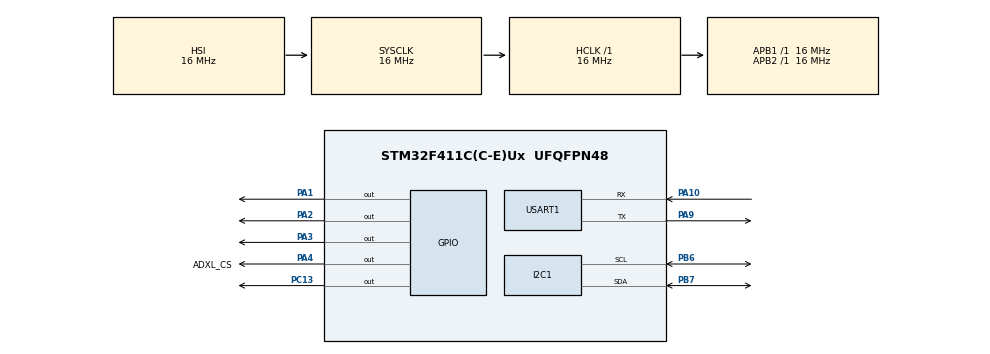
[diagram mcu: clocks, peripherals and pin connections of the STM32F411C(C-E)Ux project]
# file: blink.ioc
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Mcu.Family=STM32F4
Mcu.Name=STM32F411C(C-E)Ux
Mcu.Package=UFQFPN48
NVIC.PriorityGroup=NVIC_PRIORITYGROUP_4
PA1.Signal=GPIO_Output
PA10.Mode=Asynchronous
PA10.Signal=USART1_RX
PA13.Mode=Serial_Wire
PA13.Signal=SYS_JTMS-SWDIO
PA14.Mode=Serial_Wire
PA14.Signal=SYS_JTCK-SWCLK
PA2.Signal=GPIO_Output
PA3.Signal=GPIO_Output
PA4.GPIO_Label=ADXL_CS
PA4.Signal=GPIO_Output
PA9.Mode=Asynchronous
PA9.Signal=USART1_TX
PB6.Mode=I2C
PB6.Signal=I2C1_SCL
PB7.Mode=I2C
PB7.Signal=I2C1_SDA
PC13-ANTI_TAMP.Signal=GPIO_Output
ProjectManager.HeapSize=0x200
ProjectManager.StackSize=0x400
ProjectManager.TargetToolchain=STM32CubeIDE
RCC.AHBFreq_Value=16000000
RCC.APB1Freq_Value=16000000
RCC.APB2Freq_Value=16000000
RCC.CortexFreq_Value=16000000
RCC.HSE_VALUE=25000000
RCC.HSI_VALUE=16000000
RCC.LSE_VALUE=32768
RCC.SYSCLKFreq_VALUE=16000000
RCC.VCOOutputFreq_Value=192000000
USART1.VirtualMode=VM_ASYNC
board=custom

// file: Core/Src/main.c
/* USER CODE BEGIN Header */
/**
 ******************************************************************************
 * @file           : main.c
 * @brief          : Main program body
 ******************************************************************************
 * @attention
 *
 * <h2><center>&copy; Copyright (c) 2026 STMicroelectronics.
 * All rights reserved.</center></h2>
 *
 * This software component is licensed by ST under BSD 3-Clause license,
 * the "License"; You may not use this file except in compliance with the
 * License. You may obtain a copy of the License at:
 *                        opensource.org/licenses/BSD-3-Clause
 *
 ******************************************************************************
 */
/* USER CODE END Header */
#include "main.h"
#include <stdio.h>
#include <math.h>
#include "ai_model.h"
#include "arm_math.h"

/* USER CODE BEGIN Includes */
UART_HandleTypeDef huart1;
/* USER CODE END Includes */

/* USER CODE BEGIN PTD */
double z_buffer[35];
int sample_count = 0;

I2C_HandleTypeDef hi2c1;

UART_HandleTypeDef huart1;

/* USER CODE BEGIN PV */
int16_t Accel_X_RAW = 0;
int16_t Accel_Y_RAW = 0;
int16_t Accel_Z_RAW = 0;
int16_t Gyro_X_RAW = 0;
int16_t Gyro_Y_RAW = 0;
int16_t Gyro_Z_RAW = 0;
uint8_t check = 0x00;
uint8_t rec_data[14];

float Ax = 0, Ay = 0, Az = 0;
float Gx = 0, Gy = 0, Gz = 0;
/* USER CODE END PV */

void SystemClock_Config(void);
static void MX_GPIO_Init(void);
static void MX_I2C1_Init(void);
static void MX_USART1_UART_Init(void);

int main(void)
{
  HAL_Init();
  SystemClock_Config();
  MX_GPIO_Init();
  MX_I2C1_Init();
  MX_USART1_UART_Init();
  HAL_NVIC_DisableIRQ(I2C1_EV_IRQn);
  HAL_NVIC_DisableIRQ(I2C1_ER_IRQn);

  // Đánh thức MPU6050
  HAL_I2C_Mem_Write(&hi2c1, 0xD0, 0x6B, I2C_MEMADD_SIZE_8BIT, &check, 1, 100);

  // Chớp đèn PC13 báo hiệu hệ thống đã khởi động an toàn
  for (int i = 0; i < 6; i++)
  {
    HAL_GPIO_TogglePin(GPIOC, GPIO_PIN_13);
    HAL_Delay(200);
  }
  while (1)
  {
    if (HAL_I2C_Mem_Read(&hi2c1, 0xD0, 0x3B, I2C_MEMADD_SIZE_8BIT, rec_data, 14, 100) == HAL_OK)
    {
      Accel_Z_RAW = (int16_t)(rec_data[4] << 8 | rec_data[5]);
      Az = Accel_Z_RAW / 16384.0f;
      z_buffer[sample_count] = (double)Az;
      sample_count++;
      if (sample_count == 35)
      {
        // a. Trích xuất 5 Đặc trưng (Mean, Std, Max, Min, Range)
        double mean = 0, max = z_buffer[0], min = z_buffer[0];
        for (int i = 0; i < 35; i++)
        {
          mean += z_buffer[i];
          if (z_buffer[i] > max)
            max = z_buffer[i];
          if (z_buffer[i] < min)
            min = z_buffer[i];
        }
        mean /= 35.0;

        double variance = 0;
        for (int i = 0; i < 35; i++)
        {
          variance += (z_buffer[i] - mean) * (z_buffer[i] - mean);
        }
        double std_dev = sqrt(variance / 35.0);
        double range = max - min;

        // b. Đưa vào mảng đầu vào cho mô hình
        double ai_input[5] = {mean, std_dev, max, min, range};
        double ai_output[3];

        // c. Gọi hàm AI suy luận
        score(ai_input, ai_output);

        // d. Tìm nhãn có điểm số cao nhất
        int predicted_class = 0;
        double max_score = ai_output[0];
        for (int i = 1; i < 3; i++)
        {
          if (ai_output[i] > max_score)
          {
            max_score = ai_output[i];
            predicted_class = i;
          }
        }

        // e. KÍCH HOẠT ĐÈN LED CẢNH BÁO
        HAL_GPIO_WritePin(GPIOA, GPIO_PIN_1 | GPIO_PIN_2 | GPIO_PIN_3, GPIO_PIN_RESET);

        if (predicted_class == 0)
        {
          HAL_GPIO_WritePin(GPIOA, GPIO_PIN_1, GPIO_PIN_SET); // LED XANH LÁ
          printf("STATUS: NORMAL\n");
        }
        else if (predicted_class == 1)
        {
          HAL_GPIO_WritePin(GPIOA, GPIO_PIN_2, GPIO_PIN_SET); // LED VÀNG
          printf("WARNING: SLIGHT VIBRATION\n");
        }
        else if (predicted_class == 2)
        {
          HAL_GPIO_WritePin(GPIOA, GPIO_PIN_3, GPIO_PIN_SET); // LED ĐỎ
          printf("DANGER: SHAKE FIERCELY!\n");
        }

        // f. Trượt cửa sổ (Overlap 50%)
        for (int i = 0; i < 17; i++)
        {
          z_buffer[i] = z_buffer[i + 18];
        }
        sample_count = 17;
      }
    }
    else
    {
      HAL_GPIO_WritePin(GPIOC, GPIO_PIN_13, GPIO_PIN_SET); // error
    }

    HAL_Delay(20); // Lấy mẫu 50Hz
  }
}

void SystemClock_Config(void)
{
  RCC_OscInitTypeDef RCC_OscInitStruct = {0};
  RCC_ClkInitTypeDef RCC_ClkInitStruct = {0};

  __HAL_RCC_PWR_CLK_ENABLE();
  __HAL_PWR_VOLTAGESCALING_CONFIG(PWR_REGULATOR_VOLTAGE_SCALE1);
  /** Initializes the RCC Oscillators according to the specified parameters
   * in the RCC_OscInitTypeDef structure.
   */
  RCC_OscInitStruct.OscillatorType = RCC_OSCILLATORTYPE_HSI;
  RCC_OscInitStruct.HSIState = RCC_HSI_ON;
  RCC_OscInitStruct.HSICalibrationValue = RCC_HSICALIBRATION_DEFAULT;
  RCC_OscInitStruct.PLL.PLLState = RCC_PLL_NONE;
  if (HAL_RCC_OscConfig(&RCC_OscInitStruct) != HAL_OK)
  {
    Error_Handler();
  }
  /** Initializes the CPU, AHB and APB buses clocks
   */
  RCC_ClkInitStruct.ClockType = RCC_CLOCKTYPE_HCLK | RCC_CLOCKTYPE_SYSCLK | RCC_CLOCKTYPE_PCLK1 | RCC_CLOCKTYPE_PCLK2;
  RCC_ClkInitStruct.SYSCLKSource = RCC_SYSCLKSOURCE_HSI;
  RCC_ClkInitStruct.AHBCLKDivider = RCC_SYSCLK_DIV1;
  RCC_ClkInitStruct.APB1CLKDivider = RCC_HCLK_DIV1;
  RCC_ClkInitStruct.APB2CLKDivider = RCC_HCLK_DIV1;

  if (HAL_RCC_ClockConfig(&RCC_ClkInitStruct, FLASH_LATENCY_0) != HAL_OK)
  {
    Error_Handler();
  }
}

static void MX_I2C1_Init(void)
{

  /* USER CODE BEGIN I2C1_Init 0 */
  __HAL_RCC_GPIOB_CLK_ENABLE();
  __HAL_RCC_I2C1_CLK_ENABLE();

  GPIO_InitTypeDef GPIO_InitStruct = {0};
  GPIO_InitStruct.Pin = GPIO_PIN_6 | GPIO_PIN_7;
  GPIO_InitStruct.Mode = GPIO_MODE_AF_OD;
  GPIO_InitStruct.Pull = GPIO_PULLUP;
  GPIO_InitStruct.Speed = GPIO_SPEED_FREQ_VERY_HIGH;
  GPIO_InitStruct.Alternate = GPIO_AF4_I2C1;
  HAL_GPIO_Init(GPIOB, &GPIO_InitStruct);
  /* USER CODE END I2C1_Init 0 */

  hi2c1.Instance = I2C1;
  hi2c1.Init.ClockSpeed = 100000;
  hi2c1.Init.DutyCycle = I2C_DUTYCYCLE_2;
  hi2c1.Init.OwnAddress1 = 0;
  hi2c1.Init.AddressingMode = I2C_ADDRESSINGMODE_7BIT;
  hi2c1.Init.DualAddressMode = I2C_DUALADDRESS_DISABLE;
  hi2c1.Init.OwnAddress2 = 0;
  hi2c1.Init.GeneralCallMode = I2C_GENERALCALL_DISABLE;
  hi2c1.Init.NoStretchMode = I2C_NOSTRETCH_DISABLE;
  if (HAL_I2C_Init(&hi2c1) != HAL_OK)
  {
    Error_Handler();
  }
}

static void MX_USART1_UART_Init(void)
{
  huart1.Instance = USART1;
  huart1.Init.BaudRate = 115200;
  huart1.Init.WordLength = UART_WORDLENGTH_8B;
  huart1.Init.StopBits = UART_STOPBITS_1;
  huart1.Init.Parity = UART_PARITY_NONE;
  huart1.Init.Mode = UART_MODE_TX_RX;
  huart1.Init.HwFlowCtl = UART_HWCONTROL_NONE;
  huart1.Init.OverSampling = UART_OVERSAMPLING_16;
  if (HAL_UART_Init(&huart1) != HAL_OK)
  {
    Error_Handler();
  }
}

static void MX_GPIO_Init(void)
{
  GPIO_InitTypeDef GPIO_InitStruct = {0};

  /* GPIO Ports Clock Enable */
  __HAL_RCC_GPIOC_CLK_ENABLE();
  __HAL_RCC_GPIOA_CLK_ENABLE();
  __HAL_RCC_GPIOB_CLK_ENABLE();

  /*Configure GPIO pin Output Level */
  HAL_GPIO_WritePin(GPIOC, GPIO_PIN_13, GPIO_PIN_RESET);

  /*Configure GPIO pin Output Level */
  HAL_GPIO_WritePin(GPIOA, GPIO_PIN_1 | GPIO_PIN_2 | GPIO_PIN_3 | ADXL_CS_Pin, GPIO_PIN_RESET);

  /*Configure GPIO pin : PC13 */
  GPIO_InitStruct.Pin = GPIO_PIN_13;
  GPIO_InitStruct.Mode = GPIO_MODE_OUTPUT_PP;
  GPIO_InitStruct.Pull = GPIO_NOPULL;
  GPIO_InitStruct.Speed = GPIO_SPEED_FREQ_LOW;
  HAL_GPIO_Init(GPIOC, &GPIO_InitStruct);

  /*Configure GPIO pins : PA1 PA2 PA3 ADXL_CS_Pin */
  GPIO_InitStruct.Pin = GPIO_PIN_1 | GPIO_PIN_2 | GPIO_PIN_3 | ADXL_CS_Pin;
  GPIO_InitStruct.Mode = GPIO_MODE_OUTPUT_PP;
  GPIO_InitStruct.Pull = GPIO_NOPULL;
  GPIO_InitStruct.Speed = GPIO_SPEED_FREQ_LOW;
  HAL_GPIO_Init(GPIOA, &GPIO_InitStruct);
}

/* USER CODE BEGIN 4 */
int _write(int file, char *ptr, int len)
{
  HAL_UART_Transmit(&huart1, (uint8_t *)ptr, len, HAL_MAX_DELAY);
  return len;
}
/* USER CODE END 4 */

void Error_Handler(void)
{

  /* USER CODE END Error_Handler_Debug */
}

/************************ (C) COPYRIGHT STMicroelectronics *****END OF FILE****/
